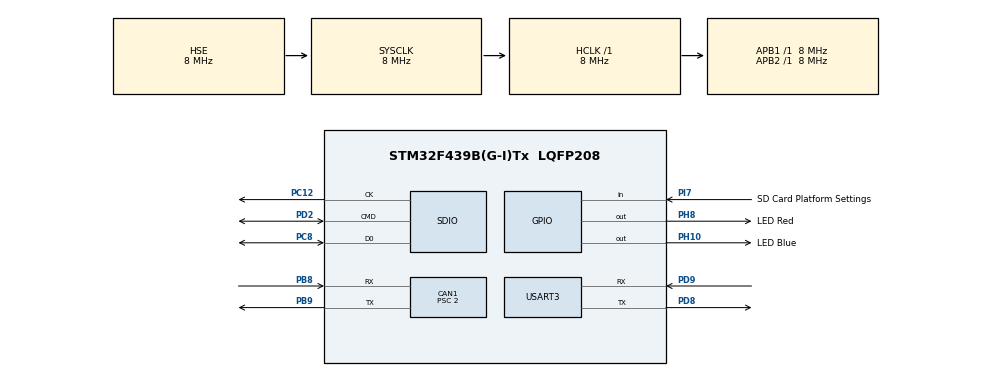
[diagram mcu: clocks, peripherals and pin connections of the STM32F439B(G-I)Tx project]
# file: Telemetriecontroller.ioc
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CAN1.ABOM=ENABLE
CAN1.AWUM=ENABLE
CAN1.BS1=CAN_BS1_3TQ
CAN1.BS2=CAN_BS2_4TQ
CAN1.CalculateTimeQuantum=250.0
CAN1.NART=ENABLE
CAN1.Prescaler=2
CAN1.TXFP=ENABLE
FATFS.BSP.number=1
FATFS0.BSP.STBoard=false
FATFS0.BSP.api=Unknown
FATFS0.BSP.i2caddr=0
FATFS0.BSP.instance=PI7
FATFS0.BSP.ip=GPIO
FATFS0.BSP.mode=Input
FATFS0.BSP.name=Detect_SDIO
FATFS0.BSP.solution=PI7
FREERTOS.Tasks01=defaultTask,0,128,StartDefaultTask,Default,NULL
IWDG.Prescaler=IWDG_PRESCALER_128
IWDG.Reload=2500
Mcu.Family=STM32F4
Mcu.Name=STM32F439B(G-I)Tx
Mcu.Package=LQFP208
NVIC.CAN1_RX0_IRQn=true\:5\:0\:false\:false\:true\:true\:true
NVIC.CAN1_RX1_IRQn=true\:5\:0\:false\:false\:true\:true\:true
NVIC.CAN1_SCE_IRQn=true\:5\:0\:false\:false\:true\:true\:true
NVIC.CAN1_TX_IRQn=true\:5\:0\:false\:false\:true\:true\:true
NVIC.PriorityGroup=NVIC_PRIORITYGROUP_4
NVIC.USART3_IRQn=true\:5\:0\:false\:false\:true\:true\:true
PB8.Mode=Master
PB8.Signal=CAN1_RX
PB9.Mode=Master
PB9.Signal=CAN1_TX
PC12.Mode=SD_1_bit
PC12.Signal=SDIO_CK
PC14/OSC32_IN.Mode=LSE-External-Oscillator
PC14/OSC32_IN.Signal=RCC_OSC32_IN
PC15/OSC32_OUT.Mode=LSE-External-Oscillator
PC15/OSC32_OUT.Signal=RCC_OSC32_OUT
PC8.Mode=SD_1_bit
PC8.Signal=SDIO_D0
PD2.Mode=SD_1_bit
PD2.Signal=SDIO_CMD
PD8.Mode=Asynchronous
PD8.Signal=USART3_TX
PD9.Mode=Asynchronous
PD9.Signal=USART3_RX
PH0/OSC_IN.Mode=HSE-External-Oscillator
PH0/OSC_IN.Signal=RCC_OSC_IN
PH1/OSC_OUT.Mode=HSE-External-Oscillator
PH1/OSC_OUT.Signal=RCC_OSC_OUT
PH10.GPIO_Label=LED Blue
PH10.Signal=GPIO_Output
PH8.GPIO_Label=LED Red
PH8.Signal=GPIO_Output
PI7.GPIO_Label=SD Card Platform Settings
PI7.Signal=GPIO_Input
ProjectManager.HeapSize=0x200
ProjectManager.StackSize=0x400
ProjectManager.TargetToolchain=MDK-ARM V5
RCC.48MHZClocksFreq_Value=48000000
RCC.AHBFreq_Value=8000000
RCC.APB1Freq_Value=8000000
RCC.APB1TimFreq_Value=8000000
RCC.APB2Freq_Value=8000000
RCC.APB2TimFreq_Value=8000000
RCC.CortexFreq_Value=8000000
RCC.HCLKFreq_Value=8000000
RCC.HSE_VALUE=8000000
RCC.HSI_VALUE=16000000
RCC.PLLM=4
RCC.PLLN=72
RCC.PLLQ=3
RCC.PLLSourceVirtual=RCC_PLLSOURCE_HSE
RCC.SYSCLKFreq_VALUE=8000000
RCC.SYSCLKSource=RCC_SYSCLKSOURCE_HSE
RCC.VCOOutputFreq_Value=144000000
USART3.VirtualMode=VM_ASYNC
VP_FATFS_VS_SDIO.Mode=SDIO
VP_FREERTOS_VS_ENABLE.Mode=Enabled
VP_IWDG_VS_IWDG.Mode=IWDG_Activate
board=custom

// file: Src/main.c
/* USER CODE BEGIN Header */
/**
  ******************************************************************************
  * @file           : main.c
  * @brief          : Main program body
  ******************************************************************************
  ** This notice applies to any and all portions of this file
  * that are not between comment pairs USER CODE BEGIN and
  * USER CODE END. Other portions of this file, whether
  * inserted by the user or by software development tools
  * are owned by their respective copyright owners.
  *
  * COPYRIGHT(c) 2019 STMicroelectronics
  *
  * Redistribution and use in source and binary forms, with or without modification,
  * are permitted provided that the following conditions are met:
  *   1. Redistributions of source code must retain the above copyright notice,
  *      this list of conditions and the following disclaimer.
  *   2. Redistributions in binary form must reproduce the above copyright notice,
  *      this list of conditions and the following disclaimer in the documentation
  *      and/or other materials provided with the distribution.
  *   3. Neither the name of STMicroelectronics nor the names of its contributors
  *      may be used to endorse or promote products derived from this software
  *      without specific prior written permission.
  *
  * THIS SOFTWARE IS PROVIDED BY THE COPYRIGHT HOLDERS AND CONTRIBUTORS "AS IS"
  * AND ANY EXPRESS OR IMPLIED WARRANTIES, INCLUDING, BUT NOT LIMITED TO, THE
  * IMPLIED WARRANTIES OF MERCHANTABILITY AND FITNESS FOR A PARTICULAR PURPOSE ARE
  * DISCLAIMED. IN NO EVENT SHALL THE COPYRIGHT HOLDER OR CONTRIBUTORS BE LIABLE
  * FOR ANY DIRECT, INDIRECT, INCIDENTAL, SPECIAL, EXEMPLARY, OR CONSEQUENTIAL
  * DAMAGES (INCLUDING, BUT NOT LIMITED TO, PROCUREMENT OF SUBSTITUTE GOODS OR
  * SERVICES; LOSS OF USE, DATA, OR PROFITS; OR BUSINESS INTERRUPTION) HOWEVER
  * CAUSED AND ON ANY THEORY OF LIABILITY, WHETHER IN CONTRACT, STRICT LIABILITY,
  * OR TORT (INCLUDING NEGLIGENCE OR OTHERWISE) ARISING IN ANY WAY OUT OF THE USE
  * OF THIS SOFTWARE, EVEN IF ADVISED OF THE POSSIBILITY OF SUCH DAMAGE.
  *
  ******************************************************************************
  */
/* USER CODE END Header */

#include "main.h"
#include "cmsis_os.h"
#include "fatfs.h"

/* USER CODE BEGIN Includes */
#include "stdbool.h"
/* USER CODE END Includes */

/* USER CODE BEGIN PD */
#define NUMBER_OF_DATA_PUFFER 8 /**< NUMBER_OF_DATA_PUFFER gibt an, wie viele Arrays als Datenpuffer angelegt werden. Ein Datenpuffer hat die
																Laenge von 8, da eine CAN-Nachricht 8 Datenbyte hat.*/
#define LENGTH_OF_PACKED_DATA 132 /**< LENGTH_OF_PACKED_DATA gibt an, wie lang ein Array als Datenpuffer ist. 128 Datenbyte + 2 Statusbytes
																	Funkmodul + 1 Byte Length + 1 Byte CRC = 132*/
#define HIGHEST_WRITE_POSITION 122 /**< HIGHEST_WRITE_POSITION gibt die groesstmoegliche Position an, ab dem keine neue CAN-Nachrichten in
																	 das Datenpaket fuer das Funkmodul passt.*/
#define NUMBER_OF_IDS 30 /**< NUMBER_OF_IDS gibt die Anzahl an IDs an, die im MS6 konfiguriert sind*/
#define OFFSET_OF_LOWEST_ID 0x10 /**< OFFSET_OF_LOWEST_ID entspricht dem Wert der kleinsten ID. Die Konstante wird im Programm verwendet, um die CAN-Nachrichten zu filtern.*/
#define WAIT_TIME 1000 /**< WAIT_TIME gibt die Zeit in Millisekunden an, die der CAN-Empfangs-Thread pausiert wird, wenn eine bestimme Anzahl
											an Datenpaketen (NUMBER_OF_RADIO_MODULE_MESSAGES_UNTIL_PAUSE) an das Funkmodul gesendet wurde.*/
#define NUMBER_OF_RADIO_MODULE_MESSAGES_UNTIL_PAUSE 1000 /**< NUMBER_OF_RADIO_MODULE_MESSAGES_UNTIL_PAUSE gibt die Anzahl an eingetroffenen CAN-Nachrichten an,
																												 nach denen eine Pause gestartet wird.*/
#define NUMBER_OF_CONFIG_BYTES 4 /**< NUMBER_OF_CONFIG_BYTES gibt an, wie viele Datenbyte das Paket enthaelt, das fuer die Konfiguration des CAN-Filters vom Laptop
																an das Funkmodul gesendet wird.*/
#define START_BYTE_OF_CONFIGURATION_PACKET 0xDD /**< START_BYTE_OF_CONFIGURATION_PACKET entspricht dem ersten Byte des Konfigurationspakets fuer die CAN-Filterung.*/
#define NUMBER_OF_BYTES_CONFIGURATION_PACKET 4 /**< NUMBER_OF_BYTES_CONFIGURATION_PACKET enthaelt die Anzahl an Bytes, das ein Konfigurationspaket fuer die CAN-Filterung enthaelt*/

/* USER CODE END PD */

CAN_HandleTypeDef hcan1;

IWDG_HandleTypeDef hiwdg;

SD_HandleTypeDef hsd;

UART_HandleTypeDef huart3;

osThreadId defaultTaskHandle;
/* USER CODE BEGIN PV */
bool packedDataWasSent; /**< packedDataWasSent wird verwendet, um zu speichern, ob ein Datenpaket an das Funkmodul gesendet wurde*/
uint8_t packedData[8][132]; /**< packedData[NUMBER_OF_DATA_PUFFER][LENGTH_OF_PACKED_DATA] enthaelt die Nutzdaten, die ueber das Funkmodul versendet werden. Der Datenpuffer besteht
														aus 8 Arrays. Zuerst wird ein Datenpuffer beschrieben. Ist dieser voll, wird dieser Datenpuffer ueber UART an das Funkmodul versendet.
														Um die Nutzdaten waehrend des Sendevorgangs nicht zu ueberschreiben, werden die nachfolgenden CAN-Nachrichten in den naechsten Datenpuffer geschrieben.*/

uint8_t positionPackedData; /**< positionPackedData wird verwendet, um die aktuelle Schreibposition in packedData zu speichern*/
uint8_t selectedPackedData;	/**< selectedPackedData wird verwendet, um den aktuell ausgewaehlten Datenpuffer zu speichern*/
uint8_t checksum; /**< checksum wird verwendet, um die berechnete Checksumme des Datenpakets zu speichern*/
uint8_t rxDataCan[8]; /**< rxDataCan wird verwendet, um die Nachrichten aus dem CAN-Eingangspuffer zu speichern*/
uint32_t numberCanMessages; /**< numberCanMessages wird verwendet, um die Anzahl der Nachrichten im CAN-Eingangspuffer zu speichern*/
uint32_t counterSendPackages; /**< counterSendPackages zaehlt die ueber UART versendeten Datenpakete*/

bool saveConfigPacketForCanFiltering; /**< configPacketForCanFilteringStarted gibt an, ob das erste Byte des Konfigurationspakets fuer die CAN-Filterung empfangen wurde*/
uint8_t counterBytesConfigPacket; /**< counterBytesConfigPacket gibt an, wie viele Bytes des Konfigurationspakets fuer die CAN-Filterung empfangen wurde*/

uint8_t uartReceiveData[1]; /**< uartReceiveData wird verwendet, um die ueber UART eintreffenden Daten zu speichern*/

bool idsToSend[30]; /**< idsToSend wird verwendet, um zu speichern, welche IDs an das Funkmodul weitergeleitet werden sollen*/
uint8_t idsToSendPosition; /**< idsToSendPosition wird verwendet, um die akutelle Schreibposition im Array idsToSend zu speichern*/
uint8_t idsToSendConfigPacket[4]; /**< idsToSendConfigPacket wird verwendet, um die ueber das Funkmodul eintreffenden Konfigurationspakete zu speichern*/

CAN_RxHeaderTypeDef rxHeader; /**< rxHeader wird verwendet, um die Statusinformationen der Nachrichten aus dem CAN-Eingangspuffer zu speichern*/

osThreadId receiveCanDataThreadHandle; /**< receiveCanDataThreadHandle wird verwendet, um den Thread, der die CAN-Nachrichten empfaengt, zu konfigurieren*/
osThreadId saveCanMessagesThreadHandle;  /**< saveCanMessagesThreadHandle wird verwendet, um den Thread, der die CAN-Nachrichten auf die SD-Karte schreibt, zu konfigurieren*/

FATFS SdFatFs; /**< SdFatFs wird zum Einbinden der SD-Karte benoetigt.*/
FIL file; /**< file ist der Zeiger auf die Datei, in die gerade auf der SD-Karte geschrieben wird.*/
char SdPath[4]; /**< SdPath enthaelt Informationen fuer den Controller, wie die SD-Karte eingebunden worden ist.*/
FRESULT fres; /**< fres enthaelt nach einem Schreibvorgang auf die SD-Karte, ob dieser erfolgreich war oder nicht*/
uint32_t counterBytesWritten; /**< counterBytesWritten enthaelt nach einem Schreibvorgang die Anzahl der geschriebenen Zeichen*/

/* USER CODE END PV */

void SystemClock_Config(void);
static void MX_GPIO_Init(void);
static void MX_CAN1_Init(void);
static void MX_USART3_UART_Init(void);
static void MX_IWDG_Init(void);
static void MX_SDIO_SD_Init(void);
void StartDefaultTask(void const * argument);

/* USER CODE BEGIN PFP */

void PackData(uint8_t[], uint32_t canId); //PackData verpackt die ankommenden CAN-Nachrichten in das Datenformat fuer das Funkmodul
void HAL_UART_RxCpltCallback(UART_HandleTypeDef *huart); //HAL_UART_RxCpltCallback wird ueberschrieben, damit bei jedem Empfangsinterrupt die Methode ausgefuehrt wird.
void InitSdCard(); //InitSdCard verbindet die SD-Karte mit dem Controller.
void SaveDataOnSdCard(uint8_t *data); //SaveDataOnSdCard schreibt Daten auf die SD-Karte.

static void ReceiveCanDataThread(void const * argument); //ReceiveCanDataThread realisiert den Thread, in dem die CAN-Nachrichten empfangen werden
static void SaveCanMessagesThread(void const * argument); //SaveCanMessagesThread realisiert den Thread, in dem die CAN-Nachrichten auf die SD-Karte geschrieben werden
/* USER CODE END PFP */

int main(void)
{

  /* MCU Configuration--------------------------------------------------------*/

  /* Reset of all peripherals, Initializes the Flash interface and the Systick. */
  HAL_Init();

  /* Configure the system clock */
  SystemClock_Config();

  /* Initialize all configured peripherals */
  MX_GPIO_Init();
  MX_CAN1_Init();
  MX_USART3_UART_Init();
  MX_IWDG_Init();
  MX_SDIO_SD_Init();
  /* USER CODE BEGIN 2 */

	//InitSdCard initialsiert die SD-Karte und bindet sie in das System ein.
	//InitSdCard();

	//Hier werden die Variablen mit ihren Anfangswerten initialisiert.
	packedDataWasSent = true; //Es wurde zwar noch kein Datenpaket ueber UART versendet, aber packedDataWasSent wird trozdem auf true gesetzt, da sonst das Paket wegen der if-Abfrage
														//spaeter nicht initialisert werden wuerde.
	selectedPackedData = 0; //Zu Beginn wird der erste Datenpuffer ausgewaehlt (Das erste Feld des mehrdimensionalen Arrays packedData).
	checksum = 0x00; //Zu Beginn ist die Checksumme gleich 0.
	positionPackedData = 0; //Zu Beginn ist die Schreibposition im Datenpuffer packedData gleich 0.
	counterSendPackages = 0; //Zu Beginn ist die Anzahl an gesendeten Datenpakten gleich 0.
	saveConfigPacketForCanFiltering = false; //Zu Beginn wurde noch kein Konfigurationspaket empfangen.
	counterBytesConfigPacket = 0; //Zu Beginn wurden noch keine Konfigurationspaketbytes empfangen.

	//Alle Datenpuffer werden mit 0 initialisiert.
	for(int i = 0; i < NUMBER_OF_DATA_PUFFER; i++)
	{
		for(int k = 0; k < LENGTH_OF_PACKED_DATA; k++)
		{
			packedData[i][k] = 0x00;
		}
	}

	//Hier wird festgelegt, welche IDs standardmaessig an das Funkmodul weitergeleitet werden.
	for(int i = 0; i < NUMBER_OF_IDS; i++)
	{
		idsToSend[i] = false;
	}

	idsToSend[0] = true;  //ID 0x10 wird standardmaessig gesendet
	idsToSend[1] = true;  //ID 0x11 wird standardmaessig gesendet

  /* USER CODE END 2 */

  /* Create the thread(s) */
  /* definition and creation of defaultTask */
  //osThreadDef(defaultTask, StartDefaultTask, osPriorityNormal, 0, 128);
  //defaultTaskHandle = osThreadCreate(osThread(defaultTask), NULL);

  /* USER CODE BEGIN RTOS_THREADS */
  /* add threads, ... */

	//osThreadDef konfiguriert einen neuen Thread mit dem Namen "ReceiveCanData" an. Jedesmal, wenn der Thread gestartet wird, wird die Funktion "ReceiveCanDataThread" ausgefuehrt.
	//Die Prioritaet des Threads ist "Normal". Die Anzahl an Instanzen ist "0". Der Thread hat die Stack-Groesse von "configMINIMAL_STACK_SIZE".
	osThreadDef(ReceiveCanData, ReceiveCanDataThread, osPriorityNormal, 0, configMINIMAL_STACK_SIZE);

	//osThreadCreate legt einen neuen Thread des Typs "ReceiveCanData" an. Es werden am Anfang keine Parameter uebergeben, deshalb "NULL".
	//Die Funktion liefert als Rueckgabewert einen Thread-Handler, der in der Variablen receiveCanDataThreadHandle abgespeichert wird.
	receiveCanDataThreadHandle = osThreadCreate(osThread(ReceiveCanData), NULL);

	//osThreadDef konfiguriert einen neuen Thread mit dem Namen "SaveCanMessages" an. Jedesmal, wenn der Thread gestartet wird, wird die Funktion "SaveCanMessagesThread" ausgefuehrt.
	//Die Prioritaet des Threads ist "Normal". Die Anzahl an Instanzen ist "0". Der Thread hat die Stack-Groesse von "configMINIMAL_STACK_SIZE".
	//osThreadDef(SaveCanMessages, SaveCanMessagesThread, osPriorityNormal, 0, configMINIMAL_STACK_SIZE);

	//osThreadCreate legt einen neuen Thread des Typs "SaveCanMessages" an. Es werden am Anfang keine Parameter uebergeben, deshalb "NULL".
	//Die Funktion liefert als Rueckgabewert einen Thread-Handler, der in der Variablen saveCanMessagesThreadHandle abgespeichert wird.
	//saveCanMessagesThreadHandle = osThreadCreate(osThread(SaveCanMessages), NULL);
  /* USER CODE END RTOS_THREADS */

  /* Start scheduler */
  osKernelStart();

  /* We should never get here as control is now taken by the scheduler */

  /* Infinite loop */
  while (1)
  {

  }
}

void SystemClock_Config(void)
{
  RCC_OscInitTypeDef RCC_OscInitStruct = {0};
  RCC_ClkInitTypeDef RCC_ClkInitStruct = {0};

  /**Configure the main internal regulator output voltage
  */
  __HAL_RCC_PWR_CLK_ENABLE();
  __HAL_PWR_VOLTAGESCALING_CONFIG(PWR_REGULATOR_VOLTAGE_SCALE3);
  /**Initializes the CPU, AHB and APB busses clocks
  */
  RCC_OscInitStruct.OscillatorType = RCC_OSCILLATORTYPE_LSI|RCC_OSCILLATORTYPE_HSE;
  RCC_OscInitStruct.HSEState = RCC_HSE_ON;
  RCC_OscInitStruct.LSIState = RCC_LSI_ON;
  RCC_OscInitStruct.PLL.PLLState = RCC_PLL_ON;
  RCC_OscInitStruct.PLL.PLLSource = RCC_PLLSOURCE_HSE;
  RCC_OscInitStruct.PLL.PLLM = 4;
  RCC_OscInitStruct.PLL.PLLN = 72;
  RCC_OscInitStruct.PLL.PLLP = RCC_PLLP_DIV2;
  RCC_OscInitStruct.PLL.PLLQ = 3;
  if (HAL_RCC_OscConfig(&RCC_OscInitStruct) != HAL_OK)
  {
    Error_Handler();
  }
  /**Initializes the CPU, AHB and APB busses clocks
  */
  RCC_ClkInitStruct.ClockType = RCC_CLOCKTYPE_HCLK|RCC_CLOCKTYPE_SYSCLK
                              |RCC_CLOCKTYPE_PCLK1|RCC_CLOCKTYPE_PCLK2;
  RCC_ClkInitStruct.SYSCLKSource = RCC_SYSCLKSOURCE_HSE;
  RCC_ClkInitStruct.AHBCLKDivider = RCC_SYSCLK_DIV1;
  RCC_ClkInitStruct.APB1CLKDivider = RCC_HCLK_DIV1;
  RCC_ClkInitStruct.APB2CLKDivider = RCC_HCLK_DIV1;

  if (HAL_RCC_ClockConfig(&RCC_ClkInitStruct, FLASH_LATENCY_0) != HAL_OK)
  {
    Error_Handler();
  }
}

static void MX_CAN1_Init(void)
{

  /* USER CODE BEGIN CAN1_Init 1 */

	//Berechnung Prescaler und TimeQuanta
	//fAPB1 / CanDatenrate = (1 + TimeSeg1 + TimeSeg2) * Prescaler
	//fAPB1 in STM32CubeMX in Clock Configuration unter APB1 peripheral clocks (MHz) ablesen
	//Bei CanDatenrate die gewuenschte Datenrate einsetzen
	//Prescaler waehlen (muss zwischen 1 und 1024 liegen)
	//TimeSeg1 (muss zwischen 1 und 16 liegen) und TimeSeg2 (muss zwischen 1 und 8 liegen) so waehlen, dass die Gleichung erfuellt ist
	//TimeSeg2 sollte etwas groesser als TimeSeg1 sein

  /* USER CODE END CAN1_Init 1 */
  hcan1.Instance = CAN1;
  hcan1.Init.Prescaler = 2;
  hcan1.Init.Mode = CAN_MODE_NORMAL;
  hcan1.Init.SyncJumpWidth = CAN_SJW_1TQ;
  hcan1.Init.TimeSeg1 = CAN_BS1_3TQ;
  hcan1.Init.TimeSeg2 = CAN_BS2_4TQ;
  hcan1.Init.TimeTriggeredMode = DISABLE;
  hcan1.Init.AutoBusOff = ENABLE;
  hcan1.Init.AutoWakeUp = ENABLE;
  hcan1.Init.AutoRetransmission = ENABLE;
  hcan1.Init.ReceiveFifoLocked = DISABLE;
  hcan1.Init.TransmitFifoPriority = ENABLE;
  if (HAL_CAN_Init(&hcan1) != HAL_OK)
  {
    Error_Handler();
  }
  /* USER CODE BEGIN CAN1_Init 2 */
	//set interrupt mode for receiving new can data byte into rxfifo0
	//SET_BIT(hcan1.Instance->IER, CAN_IER_FMPIE0);

	CAN_FilterTypeDef sFilterConfig;

	//Configure CAN filter
	sFilterConfig.FilterBank = 0;
  sFilterConfig.FilterMode = CAN_FILTERMODE_IDMASK;
  sFilterConfig.FilterScale = CAN_FILTERSCALE_32BIT;
  sFilterConfig.FilterIdHigh = 0x0000;
  sFilterConfig.FilterIdLow = 0x0000;
  sFilterConfig.FilterMaskIdHigh = 0x0000;
  sFilterConfig.FilterMaskIdLow = 0x0000;
  sFilterConfig.FilterFIFOAssignment = CAN_RX_FIFO0;
  sFilterConfig.FilterActivation = ENABLE;
  sFilterConfig.SlaveStartFilterBank = 14;

  if(HAL_CAN_ConfigFilter(&hcan1, &sFilterConfig) != HAL_OK)
  {
    /* Filter configuration Error */
    Error_Handler();
  }

	//Start CAN peripheral

	if(HAL_CAN_Start(&hcan1) != HAL_OK)
	{
		Error_Handler();
	}
  /* USER CODE END CAN1_Init 2 */

}

static void MX_IWDG_Init(void)
{

  /* USER CODE BEGIN IWDG_Init 1 */

	//Berechnung Prescaler und Reload
	//fIWDG * ZeitintervallWatchDog = Prescaler * Reload
	//fIWDG in STM32CubeMX in Clock Configuration unter To IWDG (KHz) ablesen
	//ZeitintervallWatchDog ist die Zeit, nach der ein Reset des Controllers durchgefuhert wird, wenn der Watchdog nicht zurueckgesetzt wird
	//Prescaler (kann nur die Werte 4, 8, 16, 32, 64, 128 oder 256 annehmen) und Reload (muss zwischen 0 und 4095 liegen) so waehlen, dass Gleichung erfuellt ist

  /* USER CODE END IWDG_Init 1 */
  hiwdg.Instance = IWDG;
  hiwdg.Init.Prescaler = IWDG_PRESCALER_128;
  hiwdg.Init.Reload = 2500;
  if (HAL_IWDG_Init(&hiwdg) != HAL_OK)
  {
    Error_Handler();
  }

}

static void MX_SDIO_SD_Init(void)
{

  hsd.Instance = SDIO;
  hsd.Init.ClockEdge = SDIO_CLOCK_EDGE_RISING;
  hsd.Init.ClockBypass = SDIO_CLOCK_BYPASS_DISABLE;
  hsd.Init.ClockPowerSave = SDIO_CLOCK_POWER_SAVE_DISABLE;
  hsd.Init.BusWide = SDIO_BUS_WIDE_1B;
  hsd.Init.HardwareFlowControl = SDIO_HARDWARE_FLOW_CONTROL_DISABLE;
  hsd.Init.ClockDiv = 0;

}

static void MX_USART3_UART_Init(void)
{

  huart3.Instance = USART3;
  huart3.Init.BaudRate = 115200;
  huart3.Init.WordLength = UART_WORDLENGTH_8B;
  huart3.Init.StopBits = UART_STOPBITS_1;
  huart3.Init.Parity = UART_PARITY_NONE;
  huart3.Init.Mode = UART_MODE_TX_RX;
  huart3.Init.HwFlowCtl = UART_HWCONTROL_NONE;
  huart3.Init.OverSampling = UART_OVERSAMPLING_16;
  if (HAL_UART_Init(&huart3) != HAL_OK)
  {
    Error_Handler();
  }
  /* USER CODE BEGIN USART3_Init 2 */

	//__HAL_UART_ENABLE_IT setzt den Empfangsmodus von USART3 auf Interrupt
	__HAL_UART_ENABLE_IT(&huart3, UART_IT_RXNE);

  /* USER CODE END USART3_Init 2 */

}

static void MX_GPIO_Init(void)
{
  GPIO_InitTypeDef GPIO_InitStruct = {0};

  /* GPIO Ports Clock Enable */
  __HAL_RCC_GPIOC_CLK_ENABLE();
  __HAL_RCC_GPIOH_CLK_ENABLE();
  __HAL_RCC_GPIOD_CLK_ENABLE();
  __HAL_RCC_GPIOB_CLK_ENABLE();
  __HAL_RCC_GPIOI_CLK_ENABLE();

  /*Configure GPIO pin Output Level */
  HAL_GPIO_WritePin(GPIOH, LED_Red_Pin|LED_Blue_Pin, GPIO_PIN_RESET);

  /*Configure GPIO pins : LED_Red_Pin LED_Blue_Pin */
  GPIO_InitStruct.Pin = LED_Red_Pin|LED_Blue_Pin;
  GPIO_InitStruct.Mode = GPIO_MODE_OUTPUT_PP;
  GPIO_InitStruct.Pull = GPIO_NOPULL;
  GPIO_InitStruct.Speed = GPIO_SPEED_FREQ_LOW;
  HAL_GPIO_Init(GPIOH, &GPIO_InitStruct);

  /*Configure GPIO pin : SD_Card_Platform_Settings_Pin */
  GPIO_InitStruct.Pin = SD_Card_Platform_Settings_Pin;
  GPIO_InitStruct.Mode = GPIO_MODE_INPUT;
  GPIO_InitStruct.Pull = GPIO_NOPULL;
  HAL_GPIO_Init(SD_Card_Platform_Settings_GPIO_Port, &GPIO_InitStruct);

}

/* USER CODE BEGIN 4 */

/**
  *@brief HAL_UART_RxCpltCallback stellt den UART-Emfpangs-Interrupt dar. Die Methode wird jedesmal ausgefuehrt, wenn auf dem UART-Bus ein Byte eintrifft.
  *@param UART_HandleTypeDef *huart ist der UART-Handler.
  *@retval Keiner
  */
void HAL_UART_RxCpltCallback(UART_HandleTypeDef *huart)
{
  /* Prevent unused argument(s) compilation warning */
  UNUSED(huart);
  /* NOTE: This function Should not be modified, when the callback is needed,
           the HAL_UART_TxCpltCallback could be implemented in the user file
   */

	//Wenn die ueber UART empfangenen Bytes gespeichert werden sollen, liefert if true.
	if(saveConfigPacketForCanFiltering == true)
	{
		//In der Variablen idsToSendConfigPacket wird an der Stelle counterBytesConfigPacket das ueber UART empfangene Byte des Konfigurationspaket gespeichert.
		idsToSendConfigPacket[counterBytesConfigPacket] = uartReceiveData[0];
		//Es wurde ein Byte des Konfigurationspakets empfangen, deshalb wird der Zaehler um eins erhoeht.
		counterBytesConfigPacket++;

		//Falls alle Bytes des Konfigurationspakets empfangen wurden, liefert if true.
		if(counterBytesConfigPacket == NUMBER_OF_BYTES_CONFIGURATION_PACKET)
		{
			//Da nun keine weiteren Bytes des Konfigurationspakets empfangen werden sollen, wird die Variable saveConfigPacketForCanFiltering wieder auf false gesetzt.
			saveConfigPacketForCanFiltering = false;
			//Um wieder neue Konfigurationspakete empfangen zu koennen, wird der Zaehler wieder auf 0 gesetzt.
			counterBytesConfigPacket = 0;

			for(int i = 0; i < NUMBER_OF_BYTES_CONFIGURATION_PACKET; i++)
			{
				for(int k = 0; k < 8; k++)
				{
					idsToSend[idsToSendPosition] = (bool)((idsToSendConfigPacket[i] >> k) & 1);
					idsToSendPosition++;
				}
			}
		}
	}

	//Falls das ueber UART empfangene Byte dem ersten Byte des Konfigurationspakets entspricht, liefert if true.
	if(uartReceiveData[0] == START_BYTE_OF_CONFIGURATION_PACKET)
	{
		//Da nun die weiteren Bytes des Konfigurationspakets empfangen werden sollen, wird die Variable saveConfigPacketForCanFiltering auf true gesetzt.
		saveConfigPacketForCanFiltering = true;

		//Die aktuelle Schreibposition im Array wird auf 0 gesetzt.
		idsToSendPosition = 0;
	}
}

/**
	* @brief PackData packt die einzelnen CAN-Nachrichten zu einem groesseren Datenpaket zusammen, das ueber UART an das Funkmodul geschickt wird
	* @param uint8_t data[] enthaelt die Nutzdaten einer CAN-Nachricht
	* @param uint32_t canId enthaelt die CAN-Standard-ID zum Datenpaket uint8_t data[]
  * @retval Keiner
*/
void PackData(uint8_t data[], uint32_t canId)
{
	//Falls ein Datenpaket ueber UART versendet wurde, werden die Variablen wieder mit ihren Standardwerten initialisiert.
	if(packedDataWasSent == true)
	{
		//Um alte Daten zu ueberschreiben, wird der Datenpuffer mit lauter 0en initialisiert.
		for(int i = 0; i < LENGTH_OF_PACKED_DATA; i++)
		{
			packedData[selectedPackedData][i] = 0x00;
		}

		//Die Schreibposition des Datenpuffers wird auf 0 gesetzt.
		positionPackedData = 0;
		//Die Checksumme wird auf 0 gesetzt.
		checksum = 0x00;

		//Hier werden die Statusbits, die fuer das Funkmodul notwendig sind, gesetzt. Da die Laenge der Nutzdaten in einem Datenpaket immer 128 Byte sind, wird das Lenght-Byte
		//des Funkmoduls immer mit 0x80 initialisiert.
		packedData[selectedPackedData][0] = 0x02;
		packedData[selectedPackedData][1] = 0x00;
		packedData[selectedPackedData][2] = 0x80;
		//Es wurden drei Byte in packedData geschrieben, deshalb hat sich die Schreibposition positionPackedData um += 3 veraendert.
		positionPackedData += 3;

		//Die Variable packedDataWasSent wird wieder auf false gesetzt.
		packedDataWasSent = false;
	}

	//Da die CAN-ID 32 bit lang ist, aber die letzten beiden Byte immer 0 sind, werden nur die ersten beiden Byte verwendet.
	//An den Datenpuffer packedData werden die beiden Byte der Standard-ID angehaengt.
	//packedData[selectedPackedData][positionPackedData] = (canId >> 8) & 0xFF;
	//positionPackedData++;
	packedData[selectedPackedData][positionPackedData] = canId & 0xFF;
	positionPackedData++;

	//An den Datenpuffer werden die Nutzbytes angehaengt.
	//Da jedes CAN-Paket 8 Byte hat, werden immer 8 Byte angehaengt.

	for(int i = 0; i < 8; i++)
	{
		packedData[selectedPackedData][positionPackedData] = data[i];
		positionPackedData++;
	}

	//Falls die Schreibposition im Datenpuffer groesser gleich als 121 ist, ist kein Platz mehr fuer eine weiter CAN-Nachricht. Deshalb wird die Checksumme berechnet
	//und das Paket ueber UART an das Funkmodul versendet.
	if(positionPackedData >= HIGHEST_WRITE_POSITION)
	{
		//Die Checksummenberechnung ist eine XOR-Verknuepfung aller Bytes im Datenpaket.
		for(int i = 0; i < LENGTH_OF_PACKED_DATA - 1; i++)
		{
			checksum ^= packedData[selectedPackedData][i];
		}

		//Die berechnete Checksumme wird an der letzten Stellen des Datenpakets angefuegt.
		packedData[selectedPackedData][LENGTH_OF_PACKED_DATA - 1] = checksum;

		//Das Datenpaket wird ueber UART an das Funkmodul versendet.
		HAL_UART_Transmit_IT(&huart3, packedData[selectedPackedData], sizeof(packedData[selectedPackedData]));

		//Der Datenpuffer-Counter wird um eins erhoeht.
		selectedPackedData++;

		//Da nur 8 Datenpuffer vorhanden sind, wird der Datenpuffer-Counter selectedPackedData bei 8 wieder auf 0 gesetzt.
		if(selectedPackedData == NUMBER_OF_DATA_PUFFER)
		{
			selectedPackedData = 0;
		}

		//Da das Datenpaket versendet wurde, wird packedDataWasSent auf true gesetzt.
		packedDataWasSent = true;
		//Da ein weiteres Datenpaket versendet wurde, wird der Zaehler der versendeten Nachrichten um eins erhoeht.
		counterSendPackages++;
	}
}

/**
	* @brief ReceiveCanDataThread ist die Funktion, die aufgerufen wird, wenn der Thread ReceiveCanData gestartet wird.
  *        Die Funktion packt die einzelnen CAN-Nachrichten zu einem groesseren Datenpaket zusammen, das ueber UART an das Funkmodul geschickt wird
	* @param argument enthaelt den Startwert, der beim Erstellen des Threads an die Funktion uebergeben wird.
  * @retval Keiner
*/
void ReceiveCanDataThread(void const * argument)
{
	for(;;)
	{
		//HAL_CAN_GetRxFifoFillLevel liest die Anzahl an Nachrichten aus, die im CAN-Eingangspuffer CAN_RX_FIFO0 gespeichert sind und speichert sie in numberCanMessages ab
		numberCanMessages = HAL_CAN_GetRxFifoFillLevel(&hcan1, CAN_RX_FIFO0);

		//Jenachdem, wie viele Nachrichten im CAN-Eingangspuffer gespeichdert sind, wird die Laenge der for-Schleife veraendert
		for(int i = 0; i < numberCanMessages; i++)
		{
			HAL_IWDG_Refresh(&hiwdg);
			//HAL_CAN_GetRxMessage versucht, eine Nachricht aus dem CAN-Eingangspuffer CAN_RX_FIFO0 zu lesen.
			//Schlaegt der Lesevorgang fehl, liefert die Funktion als Rueckgabewert HAL_ERROR und die if-Bedingung wird nicht ausgefuehrt
			//Gelingt der Lesevorgang, liefert die Funktion als Rueckgabewert HAL_OK. Die Statusinformationen der CAN-Nachricht werden in rxHeader gespeichert.
			//Die Nutzdaten der CAN-Nachricht werden in rxDataCan gespeichert.
			if(HAL_CAN_GetRxMessage(&hcan1, CAN_RX_FIFO0, &rxHeader, rxDataCan) == HAL_OK)
			{
				//Die eintreffenden CAN-Nachrichten werden nach ihrem Identifier gefiltert. Soll die ID an das Funkmodul weitergeleitet werden, liefert das if true.
				if(idsToSend[rxHeader.StdId - OFFSET_OF_LOWEST_ID] == true)
				{
					//Die Standard-ID der CAN-Nachricht und die Nutzdaten werden an die Funktion PackData uebergeben.
					PackData(rxDataCan, rxHeader.StdId);
				}
			}
		}

		//Wenn eine bestimmte Anzahl an Nachrichten versendet wurde (NUMBER_OF_CAN_MESSAGES_UNTIL_PAUSE), liefert das if true.
		if(counterSendPackages > NUMBER_OF_RADIO_MODULE_MESSAGES_UNTIL_PAUSE)
		{
			osDelay(WAIT_TIME);
			counterSendPackages = 0;
		}
	}
}

/**
	* @brief InitSdCard initialisiert die SD-Karte und bindet sie in das System ein.
	* @param Keiner
  * @retval Keiner
*/
void InitSdCard()
{
	//FATFS_LinkDriver verbindet den Controller mit der SD-Karte
	if(FATFS_LinkDriver(&SD_Driver, SdPath) == 0)
	{
		//f_mount bindet die SD-Karte in das System ein
		if(f_mount(&SdFatFs, (TCHAR const*)SdPath, 0) == FR_OK)
		{
			HAL_GPIO_TogglePin(LED_Blue_GPIO_Port, LED_Blue_Pin);
		}
	}
}

/**
	* @brief ReceiveCanDataThread ist die Funktion, die aufgerufen wird, wenn der Thread ReceiveCanData gestartet wird.
  *        Die Funktion packt die einzelnen CAN-Nachrichten zu einem groesseren Datenpaket zusammen, das ueber UART an das Funkmodul geschickt wird
	* @param uint8_t *data enthaelt den Text, der in die Datei auf der SD-Karte geschrieben werden soll.
  * @retval Keiner
*/
void SaveDataOnSdCard(uint8_t *data)
{
	//f_open oeffnet die Datei mit dem Namen "Datei.txt" und schreibt an deren Ende weiter (FA_OPEN_APPEND). Der Zeiger auf die Datei wird in file gespeichert.
	if(f_open(&file, "Datei.txt", FA_OPEN_APPEND) == FR_OK)
	{
		//f_write schreibt den Text in data in die Datei. In counterBytesWritten steht nach dem Schreibvorgang die Anzahl der geschriebenen Zeichen. Der
		//Rueckgabewert der Methode gibt an, ob der Schreibvorgang erfolgreich war oder nicht.
		fres = f_write(&file, &data, sizeof(&data), (void *)&counterBytesWritten);

		//Falls keine Zeichen geschrieben wurden oder der Schreibvorgang fehlgeschlagen ist, liefert das if true.
		if((counterBytesWritten == 0) || (fres != FR_OK))
		{
			HAL_GPIO_TogglePin(LED_Red_GPIO_Port, LED_Red_Pin);
		}
		else
		{
			//f_close schliesst die Datei. Wird die Datei nicht geschlossen und die SD-Karte einfach so entnommen, kann es sein, dass nicht der ganze Schreibpuffer
			//in die Datei geschrieben worden ist und dadurch Daten verloren gehen.
			f_close(&file);
		}
	}

	//FATFS_UnLinkDriver wirft die SD-Karte aus.
	FATFS_UnLinkDriver(SdPath);
}

void SaveCanMessagesThread(void const * argument)
{

}
/* USER CODE END 4 */

void StartDefaultTask(void const * argument)
{
  /* init code for FATFS */
  //MX_FATFS_Init();

  /* USER CODE BEGIN 5 */
	//Die Methode MX_FATFS_Init() sollte immer auskommentiert werden. Die Initialisierung der SD-Karte wird in einer eigenen Methode durchgefuehrt.
  /* Infinite loop */
  for(;;)
  {
  }
  /* USER CODE END 5 */
}

void Error_Handler(void)
{
}

/************************ (C) COPYRIGHT STMicroelectronics *****END OF FILE****/
